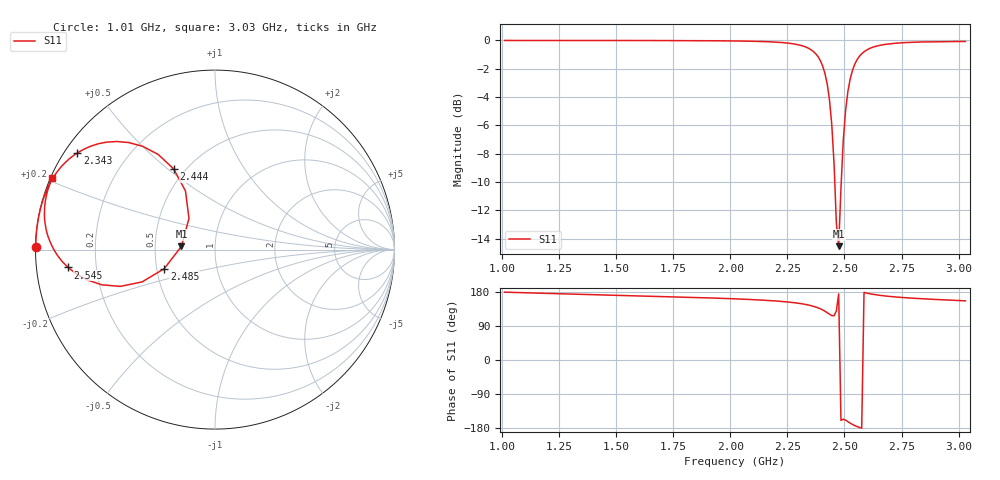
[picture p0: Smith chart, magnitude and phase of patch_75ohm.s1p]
! Touchstone fixture, hand-made, 75 ohm reference
! Date: 2026-09-24
# MHz S DB R 75
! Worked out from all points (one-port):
!   201 points, 1.01 GHz to 3.03 GHz, reference 75 ohm
!   lowest |S11| = -14.5 dB at 2.474 GHz (marker M1), VSWR 1.46, Z = 51.4 + j1.96 ohm
!   |S11| at or under -10 dB: 2.457 GHz to 2.486 GHz (28.43 MHz wide, 1.15 % of centre)
!   S11 on the Smith chart (normalised r, x): 1.01 GHz: 0.00, +0.01; 2.343 GHz: 0.04, +0.32; 2.444 GHz: 0.43, +0.52; 2.485 GHz: 0.55, -0.13; 2.545 GHz: 0.10, -0.06; 3.03 GHz: 0.00, +0.21
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1010  -0.00 179.0
1262.5  -0.00 174.7
1515  -0.01 170.6
1767.5  -0.01 166.5
2020  -0.04 161.4
2171.5  -0.10 156.9
2272.5  -0.23 151.7
2312.9  -0.37 148.4
2343.2  -0.56 144.9
2383.6  -1.14 137.7
2413.9  -2.31 128.9
2424  -3.06 125.0
2434.1  -4.19 120.8
2444.2  -5.94 117.1
2454.3  -8.73 116.7
2464.4  -12.90 129.8
2474.5  -14.53 174.4
2484.6  -10.40 -159.4
2494.7  -7.05 -156.1
2504.8  -4.94 -158.8
2514.9  -3.60 -162.7
2525  -2.72 -166.6
2545.2  -1.67 -173.1
2575.5  -0.94 -179.9
2636.1  -0.42 172.2
2696.7  -0.24 167.8
2777.5  -0.14 163.9
3030  -0.07 156.1
